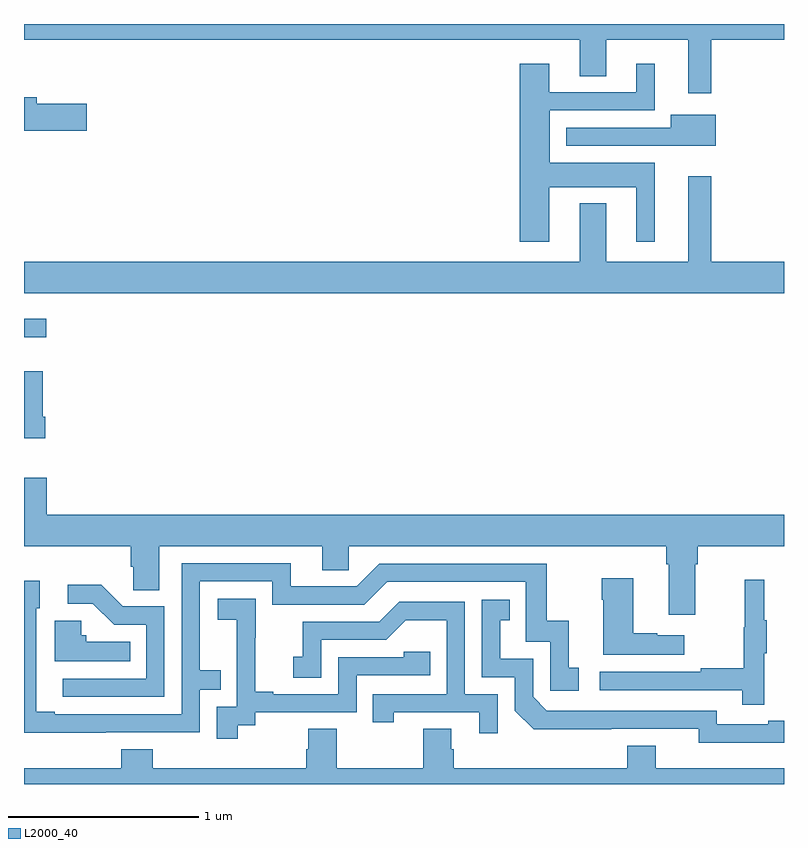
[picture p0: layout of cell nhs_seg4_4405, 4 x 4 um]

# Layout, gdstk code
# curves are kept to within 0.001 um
import gdstk
lib = gdstk.Library(unit=1e-6, precision=1e-09)
def R(c, l, rs):  # rectangles x0, y0, x1, y1
    for r in rs: c.add(gdstk.rectangle(r[:2], r[2:], *l))
def P(c, l, *ps):  # polygons
    for p in ps: c.add(gdstk.Polygon(p, *l))
L2000_40 = (2000, 40)

nhs_seg4_4405 = lib.new_cell('nhs_seg4_4405')
R(nhs_seg4_4405, L2000_40, [(347,799.251,347.116,799.348)])
P(nhs_seg4_4405, L2000_40, [(350.617,800.816),(351,800.816),(351,800.9),(347,800.9),(347,800.816),(349.925,800.816),(349.925,800.626),(350.065,800.626),(350.065,800.816),(350.495,800.816),(350.495,800.535),(350.617,800.535)],
  [(349.765,800.042),(350.222,800.042),(350.222,799.755),(350.32,799.755),(350.32,800.17),(349.768,800.17),(349.768,800.445),(350.32,800.445),(350.32,800.692),(350.222,800.692),(350.222,800.541),(349.765,800.541),(349.765,800.692),(349.61,800.692),(349.61,799.755),(349.765,799.755)],
  [(347.329,800.481),(347.068,800.481),(347.068,800.515),(347,800.515),(347,800.339),(347.329,800.339)],
  [(350.641,800.422),(350.405,800.422),(350.405,800.355),(349.853,800.355),(349.853,800.259),(350.409,800.259),(350.409,800.258),(350.641,800.258)],
  [(351,799.648),(350.617,799.648),(350.617,800.098),(350.495,800.098),(350.495,799.648),(350.065,799.648),(350.065,799.957),(349.925,799.957),(349.925,799.648),(347,799.648),(347,799.484),(351,799.484)],
  [(347.111,798.832),(347.098,798.832),(347.098,799.072),(347,799.072),(347,798.72),(347.111,798.72)],
  [(350.533,798.056),(350.546,798.056),(350.546,798.152),(351,798.152),(351,798.316),(347.12,798.316),(347.12,798.511),(347,798.511),(347,798.152),(347.561,798.152),(347.561,798.043),(347.574,798.043),(347.574,797.92),(347.713,797.92),(347.713,798.152),(348.569,798.152),(348.569,798.025),(348.708,798.025),(348.708,798.152),(350.381,798.152),(350.381,798.056),(350.393,798.056),(350.393,797.79),(350.533,797.79)],
  [(347.429,797.172),(347.925,797.172),(347.925,797.397),(348.035,797.397),(348.035,797.498),(347.925,797.498),(347.925,797.967),(348.306,797.967),(348.306,797.844),(348.792,797.844),(348.912,797.964),(349.641,797.964),(349.641,797.649),(349.77,797.649),(349.77,797.391),(349.921,797.391),(349.921,797.511),(349.868,797.511),(349.868,797.758),(349.75,797.758),(349.75,798.06),(348.87,798.06),(348.75,797.94),(348.403,797.94),(348.403,798.063),(347.829,798.063),(347.829,797.268),(347.161,797.268),(347.161,797.281),(347.064,797.281),(347.064,797.826),(347.083,797.826),(347.083,797.971),(347,797.971),(347,797.171)],
  [(350.476,797.683),(350.333,797.683),(350.333,797.693),(350.206,797.693),(350.206,797.983),(350.041,797.983),(350.041,797.87),(350.048,797.87),(350.048,797.579),(350.476,797.579)],
  [(350.897,797.587),(350.908,797.587),(350.908,797.761),(350.897,797.761),(350.897,797.974),(350.794,797.974),(350.794,797.724),(350.787,797.724),(350.787,797.51),(350.563,797.51),(350.563,797.49),(350.031,797.49),(350.031,797.394),(350.779,797.394),(350.779,797.316),(350.897,797.316)],
  [(347.739,797.835),(347.52,797.835),(347.407,797.948),(347.229,797.948),(347.229,797.85),(347.363,797.85),(347.474,797.739),(347.643,797.739),(347.643,797.454),(347.205,797.454),(347.205,797.358),(347.739,797.358)],
  [(348.124,797.209),(348.216,797.209),(348.216,797.277),(348.75,797.277),(348.75,797.472),(349.139,797.472),(349.139,797.595),(348.999,797.595),(348.999,797.568),(348.654,797.568),(348.654,797.373),(348.313,797.373),(348.313,797.386),(348.218,797.386),(348.218,797.669),(348.219,797.669),(348.219,797.875),(348.021,797.875),(348.021,797.765),(348.119,797.765),(348.119,797.537),(348.12,797.537),(348.12,797.307),(348.015,797.307),(348.015,797.139),(348.124,797.139)],
  [(350.918,797.118),(351,797.118),(351,797.234),(350.918,797.234),(350.918,797.214),(350.646,797.214),(350.646,797.286),(349.752,797.286),(349.68,797.358),(349.68,797.559),(349.507,797.559),(349.507,797.763),(349.556,797.763),(349.556,797.869),(349.41,797.869),(349.41,797.463),(349.584,797.463),(349.584,797.286),(349.682,797.189),(350.55,797.19),(350.55,797.117)],
  [(349.494,797.373),(349.32,797.373),(349.32,797.859),(348.974,797.859),(348.869,797.754),(348.466,797.754),(348.466,797.569),(348.417,797.569),(348.417,797.46),(348.564,797.46),(348.564,797.658),(348.906,797.658),(349.01,797.762),(349.224,797.762),(349.224,797.373),(348.835,797.373),(348.835,797.226),(348.946,797.226),(348.946,797.277),(349.397,797.277),(349.397,797.166),(349.494,797.166)],
  [(347.558,797.65),(347.328,797.65),(347.328,797.682),(347.301,797.682),(347.301,797.758),(347.162,797.758),(347.162,797.546),(347.558,797.546)],
  [(351,796.984),(350.326,796.984),(350.326,797.101),(350.174,797.101),(350.174,796.984),(349.262,796.984),(349.262,797.082),(349.249,797.082),(349.249,797.192),(349.102,797.192),(349.102,796.984),(348.645,796.984),(348.645,797.192),(348.497,797.192),(348.497,797.082),(348.485,797.082),(348.485,796.984),(347.678,796.984),(347.678,797.083),(347.513,797.083),(347.513,796.984),(347,796.984),(347,796.9),(351,796.9)])

lib.write_gds('nhs_seg4_4405.gds')
